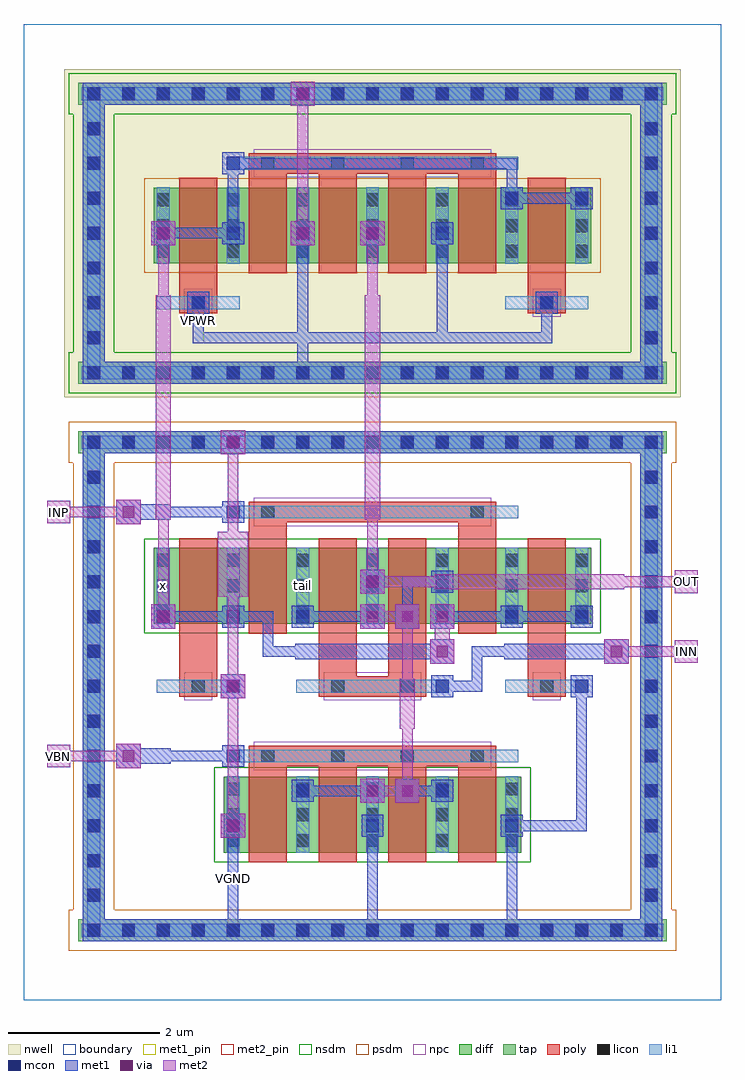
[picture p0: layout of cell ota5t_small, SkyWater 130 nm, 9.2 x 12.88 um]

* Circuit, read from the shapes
.subckt ota5t_small INN INP OUT VBN VGND VPWR tail x
XM1 x VGND x VGND sky130_fd_pr__nfet_01v8 w=1 l=0.5 m=2
XM2 tail VBN VGND VGND sky130_fd_pr__nfet_01v8 w=1 l=0.5 m=4
XM3 tail INP x VGND sky130_fd_pr__nfet_01v8 w=1 l=0.5 m=2
XM4 OUT INN tail VGND sky130_fd_pr__nfet_01v8 w=1 l=0.5 m=2
XM5 x VPWR x VPWR sky130_fd_pr__pfet_01v8 w=1 l=0.5 m=2
XM6 VPWR x x VPWR sky130_fd_pr__pfet_01v8 w=1 l=0.5 m=2
XM7 OUT x VPWR VPWR sky130_fd_pr__pfet_01v8 w=1 l=0.5 m=2
.ends

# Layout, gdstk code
import gdstk
lib = gdstk.Library(unit=1e-6, precision=1e-09)
def R(c, l, rs):  # rectangles x0, y0, x1, y1
    for r in rs: c.add(gdstk.rectangle(r[:2], r[2:], *l))
def A(c, l, x, y, w, h, nx, ny, dx, dy):  # array of equal rectangles
    R(c, l, [(x+i*dx, y+j*dy, x+i*dx+w, y+j*dy+h) for i in range(nx) for j in range(ny)])
nwell = (64, 20)
diff = (65, 20)
tap = (65, 44)
poly = (66, 20)
licon = (66, 44)
li1 = (67, 20)
mcon = (67, 44)
met1_pin = (68, 16)
met1 = (68, 20)
via = (68, 44)
met2_pin = (69, 16)
met2 = (69, 20)
nsdm = (93, 44)
psdm = (94, 20)
npc = (95, 20)
boundary = (235, 4)

ota5t_small = lib.new_cell('ota5t_small')
R(ota5t_small, nwell, [(0.535,7.955,8.665,12.285)])
R(ota5t_small, diff, [(2.635,1.945,6.565,2.945), (1.715,4.965,7.485,5.965), (1.715,9.72,7.485,10.72)])
R(ota5t_small, tap, [(0.715,0.775,8.485,1.065), (0.775,0.775,1.065,7.505), (8.135,0.775,8.425,7.505), (0.715,7.215,8.485,7.505), (0.715,8.135,8.485,8.425), (0.775,8.135,1.065,12.105), (8.135,8.135,8.425,12.105), (0.715,11.815,8.485,12.105)])
A(ota5t_small, poly, 2.97, 1.815, 0.5, 1.405, 4, 1, 0.92, 0)
A(ota5t_small, poly, 2.97, 9.59, 0.5, 1.45, 4, 1, 0.92, 0)
R(ota5t_small, poly, [(2.97,3.085,6.23,3.355), (2.05,4.005,2.55,4.275), (3.89,4.005,5.31,4.275), (6.65,4.005,7.15,4.275), (2.05,4.14,2.55,6.095), (3.89,4.14,4.39,6.095), (4.81,4.14,5.31,6.095), (6.65,4.14,7.15,6.095), (2.97,4.835,3.47,6.44), (5.73,4.835,6.23,6.44), (2.97,6.305,6.23,6.575), (2.05,9.065,2.55,9.335), (6.65,9.065,7.15,9.335), (2.05,9.2,2.55,10.85), (6.65,9.2,7.15,10.85), (2.97,10.905,6.23,11.175)])
A(ota5t_small, licon, 0.835, 0.835, 0.17, 0.17, 17, 2, 0.46, 6.44)
A(ota5t_small, licon, 0.835, 1.295, 0.17, 0.17, 1, 13, 0, 0.46)
A(ota5t_small, licon, 8.195, 1.295, 0.17, 0.17, 1, 13, 0, 0.46)
A(ota5t_small, licon, 2.675, 2.02, 0.17, 0.17, 5, 3, 0.92, 0.34)
A(ota5t_small, licon, 3.135, 3.135, 0.17, 0.17, 4, 2, 0.92, 7.82)
A(ota5t_small, licon, 1.755, 5.04, 0.17, 0.17, 7, 3, 0.92, 0.34)
A(ota5t_small, licon, 0.835, 8.195, 0.17, 0.17, 17, 2, 0.46, 3.68)
A(ota5t_small, licon, 0.835, 8.655, 0.17, 0.17, 1, 7, 0, 0.46)
A(ota5t_small, licon, 8.195, 8.655, 0.17, 0.17, 1, 7, 0, 0.46)
A(ota5t_small, licon, 1.755, 9.795, 0.17, 0.17, 7, 3, 0.92, 0.34)
R(ota5t_small, licon, [(2.215,4.055,2.385,4.225), (4.055,4.055,4.225,4.225), (4.975,4.055,5.145,4.225), (6.815,4.055,6.985,4.225), (3.135,6.355,3.305,6.525), (5.895,6.355,6.065,6.525), (2.215,9.115,2.385,9.285), (6.815,9.115,6.985,9.285)])
A(ota5t_small, li1, 2.675, 1.94, 0.17, 1.01, 5, 1, 0.92, 0)
A(ota5t_small, li1, 1.755, 4.96, 0.17, 1.01, 7, 2, 0.92, 4.755)
R(ota5t_small, li1, [(0.755,0.835,8.445,1.005), (0.835,0.835,1.005,7.445), (8.195,0.835,8.365,7.445), (2.675,3.135,6.525,3.305), (1.755,4.055,2.845,4.225), (3.595,4.055,5.605,4.225), (6.355,4.055,7.445,4.225), (2.675,6.355,6.525,6.525), (0.755,7.275,8.445,7.445), (0.755,8.195,8.445,8.365), (0.835,8.195,1.005,12.045), (8.195,8.195,8.365,12.045), (1.755,9.115,2.845,9.285), (6.355,9.115,7.445,9.285), (2.675,10.955,6.525,11.125), (0.755,11.875,8.445,12.045)])
A(ota5t_small, mcon, 0.835, 0.835, 0.17, 0.17, 17, 2, 0.46, 6.44)
A(ota5t_small, mcon, 0.835, 2.215, 0.17, 0.17, 5, 1, 1.84, 0)
A(ota5t_small, mcon, 0.835, 2.675, 0.17, 0.17, 1, 5, 0, 0.46)
A(ota5t_small, mcon, 5.435, 2.675, 0.17, 0.17, 1, 3, 0, 1.38)
A(ota5t_small, mcon, 8.195, 2.675, 0.17, 0.17, 1, 5, 0, 0.46)
A(ota5t_small, mcon, 0.835, 4.975, 0.17, 0.17, 4, 1, 0.92, 0)
A(ota5t_small, mcon, 6.355, 4.975, 0.17, 0.17, 3, 2, 0.92, 5.52)
A(ota5t_small, mcon, 0.835, 5.435, 0.17, 0.17, 1, 4, 0, 0.46)
A(ota5t_small, mcon, 8.195, 5.435, 0.17, 0.17, 1, 4, 0, 0.46)
A(ota5t_small, mcon, 0.835, 8.195, 0.17, 0.17, 17, 2, 0.46, 3.68)
A(ota5t_small, mcon, 0.835, 8.655, 0.17, 0.17, 1, 3, 0, 0.46)
A(ota5t_small, mcon, 8.195, 8.655, 0.17, 0.17, 1, 4, 0, 0.46)
A(ota5t_small, mcon, 0.835, 10.035, 0.17, 0.17, 6, 1, 0.92, 0)
A(ota5t_small, mcon, 0.835, 10.495, 0.17, 0.17, 1, 3, 0, 0.46)
R(ota5t_small, mcon, [(0.835,1.295,1.005,1.465), (8.195,1.295,8.365,1.465), (0.835,1.755,1.005,1.925), (8.195,1.755,8.365,1.925), (3.595,2.675,3.765,2.845), (2.675,3.135,2.845,3.305), (2.675,4.055,2.845,4.225), (7.275,4.055,7.445,4.225), (4.515,5.435,4.685,5.605), (2.675,6.355,2.845,6.525), (2.215,9.115,2.385,9.285), (6.815,9.115,6.985,9.285), (2.675,10.955,2.845,11.125), (8.195,10.955,8.365,11.125), (8.195,11.415,8.365,11.585)])
R(ota5t_small, met1_pin, [(2.69,0.85,2.83,2.37), (2.23,8.67,2.37,9.27)])
A(ota5t_small, met1, 2.69, 0.85, 0.14, 1.52, 3, 1, 1.84, 0)
A(ota5t_small, met1, 2.615, 2.155, 0.29, 0.29, 3, 1, 1.84, 0)
A(ota5t_small, met1, 5.375, 2.615, 0.29, 0.29, 1, 3, 0, 1.38)
A(ota5t_small, met1, 4.44, 4.9, 0.32, 0.32, 3, 1, 0.46, 0)
A(ota5t_small, met1, 1.695, 4.915, 0.29, 0.29, 3, 1, 0.92, 0)
A(ota5t_small, met1, 1.77, 4.99, 1.06, 0.14, 3, 1, 1.84, 0)
A(ota5t_small, met1, 1.695, 9.975, 0.29, 0.29, 5, 1, 0.92, 0)
R(ota5t_small, met1, [(0.775,0.775,8.425,1.065), (0.775,0.775,1.065,7.505), (8.135,0.775,8.425,7.505), (2.69,0.85,4.67,0.99), (4.53,0.85,4.67,0.99), (4.53,0.85,6.51,0.99), (2.6,2.14,2.92,2.46), (6.37,2.23,7.43,2.37), (7.29,2.23,7.43,4.21), (4.44,2.6,4.76,2.92), (4.9,2.6,5.22,2.92), (3.535,2.615,3.825,2.905), (3.61,2.69,4.67,2.83), (4.99,2.69,5.59,2.83), (1.22,3.06,1.54,3.38), (2.615,3.075,2.905,3.365), (1.28,3.12,1.94,3.32), (1.77,3.15,2.83,3.29), (2.6,3.98,2.92,4.3), (2.615,3.995,2.905,4.285), (7.215,3.995,7.505,4.285), (5.45,4.07,6.05,4.21), (5.91,4.07,6.05,4.67), (5.36,4.44,5.68,4.76), (7.66,4.44,7.98,4.76), (3.58,4.5,5.62,4.7), (6.34,4.5,7.92,4.7), (3.15,4.53,3.75,4.67), (3.15,4.53,3.29,5.13), (5.91,4.53,6.51,4.67), (1.68,4.9,2,5.22), (6.295,4.915,6.585,5.205), (7.215,4.915,7.505,5.205), (2.69,4.99,3.29,5.13), (4.99,4.99,5.13,5.59), (6.37,4.99,7.43,5.13), (4.44,5.36,4.76,5.68), (4.455,5.375,4.745,5.665), (4.99,5.45,5.59,5.59), (1.22,6.28,1.54,6.6), (2.615,6.295,2.905,6.585), (1.28,6.34,1.94,6.54), (1.77,6.37,2.83,6.51), (2.6,7.2,2.92,7.52), (0.775,7.215,8.425,7.505), (2.69,7.29,2.83,7.43), (0.775,8.135,8.425,8.425), (0.775,8.135,1.065,12.105), (8.135,8.135,8.425,12.105), (3.61,8.21,3.75,8.35), (3.61,8.21,3.75,10.19), (2.23,8.67,2.37,9.27), (2.23,8.67,3.75,8.81), (3.61,8.67,5.59,8.81), (5.45,8.67,6.97,8.81), (5.45,8.67,5.59,10.19), (6.83,8.67,6.97,9.27), (2.155,9.055,2.445,9.345), (6.755,9.055,7.045,9.345), (1.68,9.96,2,10.28), (3.52,9.96,3.84,10.28), (4.44,9.96,4.76,10.28), (1.77,10.05,2.83,10.19), (2.69,10.05,2.83,11.11), (6.295,10.435,6.585,10.725), (7.215,10.435,7.505,10.725), (6.37,10.51,7.43,10.65), (6.37,10.51,6.51,11.11), (2.615,10.895,2.905,11.185), (2.69,10.97,6.51,11.11), (3.52,11.8,3.84,12.12), (0.775,11.815,8.425,12.105), (3.61,11.89,3.75,12.03)])
A(ota5t_small, via, 4.525, 4.985, 0.15, 0.15, 3, 1, 0.46, 0)
R(ota5t_small, via, [(2.685,2.225,2.835,2.375), (4.525,2.685,4.675,2.835), (4.985,2.685,5.135,2.835), (1.305,3.145,1.455,3.295), (2.685,4.065,2.835,4.215), (5.445,4.525,5.595,4.675), (7.745,4.525,7.895,4.675), (1.765,4.985,1.915,5.135), (4.525,5.445,4.675,5.595), (1.305,6.365,1.455,6.515), (2.685,7.285,2.835,7.435), (1.765,10.045,1.915,10.195), (3.605,10.045,3.755,10.195), (4.525,10.045,4.675,10.195), (3.605,11.885,3.755,12.035)])
R(ota5t_small, met2_pin, [(0.31,3.07,0.61,3.37), (8.59,4.45,8.89,4.75), (8.59,5.37,8.89,5.67), (0.31,6.29,0.61,6.59)])
A(ota5t_small, met2, 4.44, 4.9, 0.32, 0.32, 3, 1, 0.46, 0)
R(ota5t_small, met2, [(2.6,2.14,2.92,2.46), (2.69,2.23,2.83,4.21), (4.44,2.6,4.76,2.92), (4.9,2.6,5.22,2.92), (4.53,2.69,5.13,2.83), (4.99,2.69,5.13,3.75), (1.22,3.06,1.54,3.38), (0.31,3.07,0.61,3.37), (0.39,3.15,0.53,3.29), (0.39,3.15,1.45,3.29), (4.96,3.58,5.16,4.24), (2.6,3.98,2.92,4.3), (2.69,4.07,2.83,5.59), (4.99,4.07,5.13,5.13), (5.36,4.44,5.68,4.76), (7.66,4.44,7.98,4.76), (8.59,4.45,8.89,4.75), (5.42,4.5,5.62,5.16), (7.75,4.53,8.81,4.67), (8.67,4.53,8.81,4.67), (1.68,4.9,2,5.22), (1.77,4.99,1.91,6.51), (4.53,4.99,5.13,5.13), (2.56,5.32,2.96,6.18), (4.44,5.36,4.76,5.68), (8.59,5.37,8.89,5.67), (5.42,5.42,7.92,5.62), (4.53,5.45,5.59,5.59), (4.53,5.45,4.67,6.51), (7.75,5.45,8.81,5.59), (8.67,5.45,8.81,5.59), (2.69,5.91,2.83,7.43), (1.22,6.28,1.54,6.6), (0.31,6.29,0.61,6.59), (1.74,6.34,1.94,9.3), (4.5,6.34,4.7,9.3), (0.39,6.37,0.53,6.51), (0.39,6.37,1.45,6.51), (2.6,7.2,2.92,7.52), (1.77,9.13,1.91,10.19), (4.53,9.13,4.67,10.19), (1.68,9.96,2,10.28), (3.52,9.96,3.84,10.28), (4.44,9.96,4.76,10.28), (3.61,10.05,3.75,12.03), (3.52,11.8,3.84,12.12)])
R(ota5t_small, nsdm, [(2.51,1.82,6.69,3.07), (1.59,4.84,7.61,6.09), (0.59,8.01,8.61,8.55), (0.65,8.55,1.19,11.69), (8.01,8.55,8.55,11.69), (0.59,11.69,8.61,12.23)])
R(ota5t_small, psdm, [(0.59,0.65,8.61,1.19), (0.65,1.19,1.19,7.09), (8.01,1.19,8.55,7.09), (0.59,7.09,8.61,7.63), (1.59,9.595,7.61,10.845)])
R(ota5t_small, npc, [(3.035,3.035,6.165,3.405), (2.115,3.955,2.485,4.325), (3.955,3.955,5.245,4.325), (6.715,3.955,7.085,4.325), (3.035,6.255,6.165,6.625), (2.115,9.015,2.485,9.385), (6.715,9.015,7.085,9.385), (3.035,10.855,6.165,11.225)])
R(ota5t_small, boundary, [(0,0,9.2,12.88)])
ota5t_small.add(gdstk.Label('x', (1.84,5.465), layer=67, texttype=5))
ota5t_small.add(gdstk.Label('tail', (3.68,5.465), layer=67, texttype=5))
ota5t_small.add(gdstk.Label('VPWR', (2.3,8.97), layer=68, texttype=5))
ota5t_small.add(gdstk.Label('VGND', (2.76,1.61), layer=68, texttype=5))
ota5t_small.add(gdstk.Label('INP', (0.46,6.44), layer=69, texttype=5))
ota5t_small.add(gdstk.Label('INN', (8.74,4.6), layer=69, texttype=5))
ota5t_small.add(gdstk.Label('VBN', (0.46,3.22), layer=69, texttype=5))
ota5t_small.add(gdstk.Label('OUT', (8.74,5.52), layer=69, texttype=5))
ota5t_small.add(gdstk.Label('VPWR', (2.3,8.97), layer=68, texttype=16))
ota5t_small.add(gdstk.Label('VGND', (2.76,1.61), layer=68, texttype=16))
ota5t_small.add(gdstk.Label('INP', (0.46,6.44), layer=69, texttype=16))
ota5t_small.add(gdstk.Label('INN', (8.74,4.6), layer=69, texttype=16))
ota5t_small.add(gdstk.Label('VBN', (0.46,3.22), layer=69, texttype=16))
ota5t_small.add(gdstk.Label('OUT', (8.74,5.52), layer=69, texttype=16))

lib.write_gds('ota5t_small.gds')
